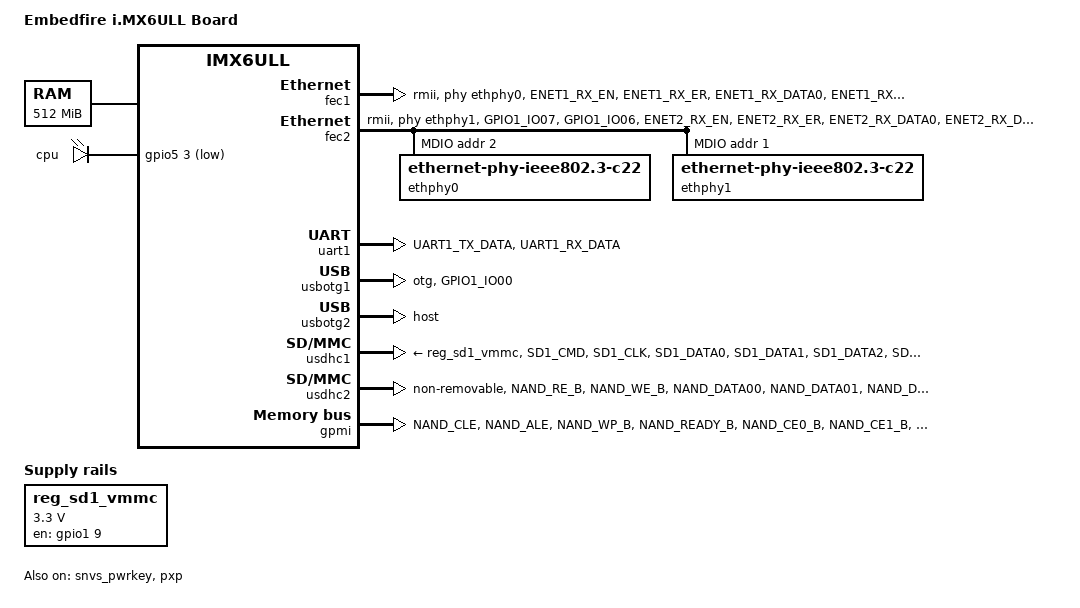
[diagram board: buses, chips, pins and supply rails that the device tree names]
/*
 * Copyright (C) 2016 Freescale Semiconductor, Inc.
 *
 * This program is free software; you can redistribute it and/or modify
 * it under the terms of the GNU General Public License version 2 as
 * published by the Free Software Foundation.
 */

/dts-v1/;

#include <dt-bindings/input/input.h>
#include "imx6ull.dtsi"

/ {
	model = "Embedfire i.MX6ULL Board";
	compatible = "fsl,imx6ull-14x14-evk", "fsl,imx6ull";

	aliases {
		pwm0 = &pwm1;
		pwm1 = &pwm2;
		pwm2 = &pwm3;
		pwm3 = &pwm4;
	};
	chosen {
		stdout-path = &uart1;
	};

	memory {
		reg = <0x80000000 0x20000000>;
	};

	reserved-memory {
		#address-cells = <1>;
		#size-cells = <1>;
		ranges;

		linux,cma {
			compatible = "shared-dma-pool";
			reusable;
			size = <0x14000000>;
			linux,cma-default;
		};
	};

	regulators {
		compatible = "simple-bus";
		#address-cells = <1>;
		#size-cells = <0>;


		reg_sd1_vmmc: regulator@1 {
			compatible = "regulator-fixed";
			regulator-name = "VSD_3V3";
			regulator-min-microvolt = <3300000>;
			regulator-max-microvolt = <3300000>;
			gpio = <&gpio1 9 GPIO_ACTIVE_HIGH>;
			off-on-delay = <20000>;
			enable-active-high;
		};
/*
		reg_gpio_dvfs: regulator-gpio {
			compatible = "regulator-gpio";
			pinctrl-names = "default";
			pinctrl-0 = <&pinctrl_dvfs>;
			regulator-min-microvolt = <1300000>;
			regulator-max-microvolt = <1400000>;
			regulator-name = "gpio_dvfs";
			regulator-type = "voltage";
			gpios = <&gpio5 3 GPIO_ACTIVE_HIGH>;
			states = <1300000 0x1 1400000 0x0>;
		};
*/
	};

	leds {
		compatible = "gpio-leds";
		pinctrl-names = "default";
		pinctrl-0 = <&pinctrl_led>;

		led0: cpu {
			label = "cpu";
			gpios = <&gpio5 3 GPIO_ACTIVE_LOW>;
			default-state = "on";
			linux,default-trigger = "heartbeat";
		};
	};


         /* External sound card */
         sound: sound {
                     status = "disabled";
         };
};

&cpu0 {
	/*dc-supply = <&reg_gpio_dvfs>;*/
	clock-frequency = <800000000>;
};

&clks {
	assigned-clocks = <&clks IMX6UL_CLK_PLL4_AUDIO_DIV>;
	assigned-clock-rates = <786432000>;
};


&fec1 {
	pinctrl-names = "default";
	pinctrl-0 = <&pinctrl_enet1>;
	phy-mode = "rmii";
	phy-handle = <&ethphy0>;
	status = "okay";
};

&fec2 {
	pinctrl-names = "default";
	pinctrl-0 = <&pinctrl_enet2>;
	phy-mode = "rmii";
	phy-handle = <&ethphy1>;
	status = "okay";

	mdio {
		#address-cells = <1>;
		#size-cells = <0>;

		ethphy0: ethernet-phy@2 {
			compatible = "ethernet-phy-ieee802.3-c22";
			reg = <2>;
			micrel,led-mode = <1>;
			clocks = <&clks IMX6UL_CLK_ENET_REF>;
			clock-names = "rmii-ref";
		};

		ethphy1: ethernet-phy@1 {
			compatible = "ethernet-phy-ieee802.3-c22";
			reg = <1>;
			micrel,led-mode = <1>;
			clocks = <&clks IMX6UL_CLK_ENET2_REF>;
			clock-names = "rmii-ref";
		};
	};
};


&gpc {
	fsl,cpu_pupscr_sw2iso = <0xf>;
	fsl,cpu_pupscr_sw = <0x0>;
	fsl,cpu_pdnscr_iso2sw = <0x1>;
	fsl,cpu_pdnscr_iso = <0x1>;
	fsl,ldo-bypass = <0>; /* DCDC, ldo-enable */
};


&iomuxc {
	pinctrl-names = "default";
	pinctrl-0 = <&pinctrl_hog_1>;

	pinctrl_gpmi_nand: gpmi-nand {
			fsl,pins = <
				MX6UL_PAD_NAND_CLE__RAWNAND_CLE         0xb0b1
				MX6UL_PAD_NAND_ALE__RAWNAND_ALE         0xb0b1
				MX6UL_PAD_NAND_WP_B__RAWNAND_WP_B       0xb0b1
				MX6UL_PAD_NAND_READY_B__RAWNAND_READY_B 0xb000
				MX6UL_PAD_NAND_CE0_B__RAWNAND_CE0_B     0xb0b1
				MX6UL_PAD_NAND_CE1_B__RAWNAND_CE1_B     0xb0b1
				MX6UL_PAD_NAND_RE_B__RAWNAND_RE_B       0xb0b1
				MX6UL_PAD_NAND_WE_B__RAWNAND_WE_B       0xb0b1
				MX6UL_PAD_NAND_DATA00__RAWNAND_DATA00   0xb0b1
				MX6UL_PAD_NAND_DATA01__RAWNAND_DATA01   0xb0b1
				MX6UL_PAD_NAND_DATA02__RAWNAND_DATA02   0xb0b1
				MX6UL_PAD_NAND_DATA03__RAWNAND_DATA03   0xb0b1
				MX6UL_PAD_NAND_DATA04__RAWNAND_DATA04   0xb0b1
				MX6UL_PAD_NAND_DATA05__RAWNAND_DATA05   0xb0b1
				MX6UL_PAD_NAND_DATA06__RAWNAND_DATA06   0xb0b1
				MX6UL_PAD_NAND_DATA07__RAWNAND_DATA07   0xb0b1
			>;
		};

	pinctrl_hog_1: hoggrp-1 {
		fsl,pins = <
			MX6UL_PAD_UART1_RTS_B__GPIO1_IO19	0x17059 /* SD1 CD */
			MX6UL_PAD_GPIO1_IO05__USDHC1_VSELECT	0x17059 /* SD1 VSELECT */
			MX6UL_PAD_GPIO1_IO09__GPIO1_IO09        0x17059 /* SD1 RESET */
		>;
	};

	pinctrl_enet1: enet1grp {
		fsl,pins = <
			MX6UL_PAD_ENET1_RX_EN__ENET1_RX_EN	0x1b0b0
			MX6UL_PAD_ENET1_RX_ER__ENET1_RX_ER	0x1b0b0
			MX6UL_PAD_ENET1_RX_DATA0__ENET1_RDATA00	0x1b0b0
			MX6UL_PAD_ENET1_RX_DATA1__ENET1_RDATA01	0x1b0b0
			MX6UL_PAD_ENET1_TX_EN__ENET1_TX_EN	0x1b0b0
			MX6UL_PAD_ENET1_TX_DATA0__ENET1_TDATA00	0x1b0b0
			MX6UL_PAD_ENET1_TX_DATA1__ENET1_TDATA01	0x1b0b0
			MX6UL_PAD_ENET1_TX_CLK__ENET1_REF_CLK1	0x4001b031
		>;
	};

	pinctrl_enet2: enet2grp {
		fsl,pins = <
			MX6UL_PAD_GPIO1_IO07__ENET2_MDC		0x1b0b0
			MX6UL_PAD_GPIO1_IO06__ENET2_MDIO	0x1b0b0
			MX6UL_PAD_ENET2_RX_EN__ENET2_RX_EN	0x1b0b0
			MX6UL_PAD_ENET2_RX_ER__ENET2_RX_ER	0x1b0b0
			MX6UL_PAD_ENET2_RX_DATA0__ENET2_RDATA00	0x1b0b0
			MX6UL_PAD_ENET2_RX_DATA1__ENET2_RDATA01	0x1b0b0
			MX6UL_PAD_ENET2_TX_EN__ENET2_TX_EN	0x1b0b0
			MX6UL_PAD_ENET2_TX_DATA0__ENET2_TDATA00	0x1b0b0
			MX6UL_PAD_ENET2_TX_DATA1__ENET2_TDATA01	0x1b0b0
			MX6UL_PAD_ENET2_TX_CLK__ENET2_REF_CLK2	0x4001b031
		>;
	};

	pinctrl_uart1: uart1grp {
		fsl,pins = <
			MX6UL_PAD_UART1_TX_DATA__UART1_DCE_TX 0x1b0b1
			MX6UL_PAD_UART1_RX_DATA__UART1_DCE_RX 0x1b0b1
		>;
	};


	pinctrl_usb_otg1_id: usbotg1idgrp {
		fsl,pins = <
			MX6UL_PAD_GPIO1_IO00__ANATOP_OTG1_ID	0x17059
		>;
	};
/*
        pinctrl_dvfs: dvfsgrp {
                fsl,pins = <
                        MX6ULL_PAD_SNVS_TAMPER3__GPIO5_IO03      0x79
                >;
        };
*/
	pinctrl_usdhc1: usdhc1grp {
		fsl,pins = <
			MX6UL_PAD_SD1_CMD__USDHC1_CMD     0x17059
			MX6UL_PAD_SD1_CLK__USDHC1_CLK     0x10071
			MX6UL_PAD_SD1_DATA0__USDHC1_DATA0 0x17059
			MX6UL_PAD_SD1_DATA1__USDHC1_DATA1 0x17059
			MX6UL_PAD_SD1_DATA2__USDHC1_DATA2 0x17059
			MX6UL_PAD_SD1_DATA3__USDHC1_DATA3 0x17059
		>;
	};

	pinctrl_usdhc1_100mhz: usdhc1grp100mhz {
		fsl,pins = <
			MX6UL_PAD_SD1_CMD__USDHC1_CMD     0x170b9
			MX6UL_PAD_SD1_CLK__USDHC1_CLK     0x100b9
			MX6UL_PAD_SD1_DATA0__USDHC1_DATA0 0x170b9
			MX6UL_PAD_SD1_DATA1__USDHC1_DATA1 0x170b9
			MX6UL_PAD_SD1_DATA2__USDHC1_DATA2 0x170b9
			MX6UL_PAD_SD1_DATA3__USDHC1_DATA3 0x170b9
		>;
	};

	pinctrl_usdhc1_200mhz: usdhc1grp200mhz {
		fsl,pins = <
			MX6UL_PAD_SD1_CMD__USDHC1_CMD     0x170f9
			MX6UL_PAD_SD1_CLK__USDHC1_CLK     0x100f9
			MX6UL_PAD_SD1_DATA0__USDHC1_DATA0 0x170f9
			MX6UL_PAD_SD1_DATA1__USDHC1_DATA1 0x170f9
			MX6UL_PAD_SD1_DATA2__USDHC1_DATA2 0x170f9
			MX6UL_PAD_SD1_DATA3__USDHC1_DATA3 0x170f9
		>;
	};

	pinctrl_usdhc2: usdhc2grp {
		fsl,pins = <
			MX6UL_PAD_NAND_RE_B__USDHC2_CLK     0x10069
			MX6UL_PAD_NAND_WE_B__USDHC2_CMD     0x17059
			MX6UL_PAD_NAND_DATA00__USDHC2_DATA0 0x17059
			MX6UL_PAD_NAND_DATA01__USDHC2_DATA1 0x17059
			MX6UL_PAD_NAND_DATA02__USDHC2_DATA2 0x17059
			MX6UL_PAD_NAND_DATA03__USDHC2_DATA3 0x17059
		>;
	};

	pinctrl_usdhc2_8bit: usdhc2grp_8bit {
		fsl,pins = <
			MX6UL_PAD_NAND_RE_B__USDHC2_CLK     0x10069
			MX6UL_PAD_NAND_WE_B__USDHC2_CMD     0x17059
			MX6UL_PAD_NAND_DATA00__USDHC2_DATA0 0x17059
			MX6UL_PAD_NAND_DATA01__USDHC2_DATA1 0x17059
			MX6UL_PAD_NAND_DATA02__USDHC2_DATA2 0x17059
			MX6UL_PAD_NAND_DATA03__USDHC2_DATA3 0x17059
			MX6UL_PAD_NAND_DATA04__USDHC2_DATA4 0x17059
			MX6UL_PAD_NAND_DATA05__USDHC2_DATA5 0x17059
			MX6UL_PAD_NAND_DATA06__USDHC2_DATA6 0x17059
			MX6UL_PAD_NAND_DATA07__USDHC2_DATA7 0x17059
		>;
	};

	pinctrl_usdhc2_8bit_100mhz: usdhc2grp_8bit_100mhz {
		fsl,pins = <
			MX6UL_PAD_NAND_RE_B__USDHC2_CLK     0x100b9
			MX6UL_PAD_NAND_WE_B__USDHC2_CMD     0x170b9
			MX6UL_PAD_NAND_DATA00__USDHC2_DATA0 0x170b9
			MX6UL_PAD_NAND_DATA01__USDHC2_DATA1 0x170b9
			MX6UL_PAD_NAND_DATA02__USDHC2_DATA2 0x170b9
			MX6UL_PAD_NAND_DATA03__USDHC2_DATA3 0x170b9
			MX6UL_PAD_NAND_DATA04__USDHC2_DATA4 0x170b9
			MX6UL_PAD_NAND_DATA05__USDHC2_DATA5 0x170b9
			MX6UL_PAD_NAND_DATA06__USDHC2_DATA6 0x170b9
			MX6UL_PAD_NAND_DATA07__USDHC2_DATA7 0x170b9
		>;
	};

	pinctrl_usdhc2_8bit_200mhz: usdhc2grp_8bit_200mhz {
		fsl,pins = <
			MX6UL_PAD_NAND_RE_B__USDHC2_CLK     0x100f9
			MX6UL_PAD_NAND_WE_B__USDHC2_CMD     0x170f9
			MX6UL_PAD_NAND_DATA00__USDHC2_DATA0 0x170f9
			MX6UL_PAD_NAND_DATA01__USDHC2_DATA1 0x170f9
			MX6UL_PAD_NAND_DATA02__USDHC2_DATA2 0x170f9
			MX6UL_PAD_NAND_DATA03__USDHC2_DATA3 0x170f9
			MX6UL_PAD_NAND_DATA04__USDHC2_DATA4 0x170f9
			MX6UL_PAD_NAND_DATA05__USDHC2_DATA5 0x170f9
			MX6UL_PAD_NAND_DATA06__USDHC2_DATA6 0x170f9
			MX6UL_PAD_NAND_DATA07__USDHC2_DATA7 0x170f9
		>;
	};
	pinctrl_led: ledgrp {
			fsl,pins = <
				MX6ULL_PAD_SNVS_TAMPER3__GPIO5_IO03 0x1b0b0
			>;
		};
};

&iomuxc_snvs {
	pinctrl-names = "default_snvs";
	pinctrl-0 = <&pinctrl_hog_2>;
	pinctrl_hog_2: hoggrp-2 {
		fsl,pins = <
			MX6ULL_PAD_SNVS_TAMPER0__GPIO5_IO00      0x80000000
		>;
	};
};


&snvs_pwrkey {
	status = "okay";
};

&pxp {
	status = "okay";
};


&uart1 {
	pinctrl-names = "default";
	pinctrl-0 = <&pinctrl_uart1>;
	status = "okay";
};


&usbotg1 {
	pinctrl-names = "default";
	pinctrl-0 = <&pinctrl_usb_otg1_id>;
	dr_mode = "otg";
	srp-disable;
	hnp-disable;
	adp-disable;
	status = "okay";
};

&usbotg2 {
	dr_mode = "host";
	disable-over-current;
	status = "okay";
};

&usbphy1 {
	fsl,tx-d-cal = <106>;
};

&usbphy2 {
	fsl,tx-d-cal = <106>;
};

&usdhc1 {
	pinctrl-names = "default", "state_100mhz", "state_200mhz";
	pinctrl-0 = <&pinctrl_usdhc1>;
	pinctrl-1 = <&pinctrl_usdhc1_100mhz>;
	pinctrl-2 = <&pinctrl_usdhc1_200mhz>;
	no-1-8-v;
	/*cd-gpios = <&gpio1 19 GPIO_ACTIVE_LOW>;*/
	keep-power-in-suspend;
	/*non-removable;*/
	enable-sdio-wakeup;
	vmmc-supply = <&reg_sd1_vmmc>;
	status = "okay";
};

&usdhc2 {
	pinctrl-names = "default";
	pinctrl-0 = <&pinctrl_usdhc2_8bit>;
	non-removable;
	status = "okay";
};

&gpmi {
	pinctrl-names = "default";
	pinctrl-0 = <&pinctrl_gpmi_nand>;
	status = "okay";
	//nand-on-flash-bbt;

	partition@0 {
			label = "uboot";
			reg = <0x00000000 0x00800000>;
		};
		partition@1 {
			label = "rootfs";
			reg = <0x00800000 0x1F800000>;
		};
};

